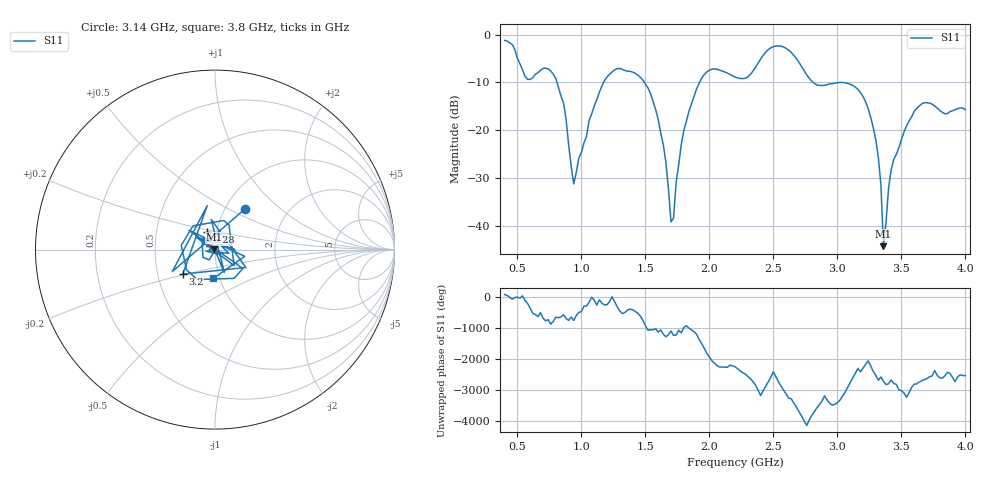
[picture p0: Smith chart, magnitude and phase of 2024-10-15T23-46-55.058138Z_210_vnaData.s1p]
! Created with skrf (http://scikit-rf.org).
# Hz S RI R 50.0
!freq ReS11 ImS11
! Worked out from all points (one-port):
!   181 points, 400 MHz to 4 GHz, reference 50 ohm
!   lowest |S11| = -44.3 dB at 3.36 GHz (marker M1), VSWR 1.01, Z = 49.4 + j0.241 ohm
!   |S11| at or under -10 dB: 809.3 MHz to 1.173 GHz (363.9 MHz wide, 36.7 % of centre); 1.493 GHz to 1.922 GHz (429.7 MHz wide, 25.2 % of centre); 3.034 GHz to end of sweep (the widest 3 of 4)
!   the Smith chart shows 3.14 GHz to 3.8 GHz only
!   S11 on the Smith chart (normalised r, x): 3.14 GHz: 1.24, +0.61; 3.2 GHz: 0.67, -0.19; 3.28 GHz: 0.90, +0.18; 3.8 GHz: 0.93, -0.31
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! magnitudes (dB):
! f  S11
! 400 MHz  -1.2
! 580 MHz  -9.4
! 760 MHz  -7.6
! 860 MHz  -14.3
! 940 MHz  -31.2
! 1.14 GHz  -12.0
! 1.3 GHz  -7.1
! 1.54 GHz  -12.3
! 1.64 GHz  -23.0
! 1.7 GHz  -39.2
! 1.72 GHz  -38.4
! 1.76 GHz  -27.3
! 1.84 GHz  -16.0
! 1.94 GHz  -9.1
! 2.2 GHz  -8.9
! 2.5 GHz  -2.5
! 2.66 GHz  -4.3
! 2.84 GHz  -10.5
! 3.1 GHz  -10.4
! 3.14 GHz  -10.9
! 3.2 GHz  -12.9
! 3.28 GHz  -19.4
! 3.34 GHz  -31.4
! 3.36 GHz  -44.3
! 3.42 GHz  -28.3
! 3.56 GHz  -18.1
! 3.8 GHz  -15.9
! 4 GHz  -15.7
